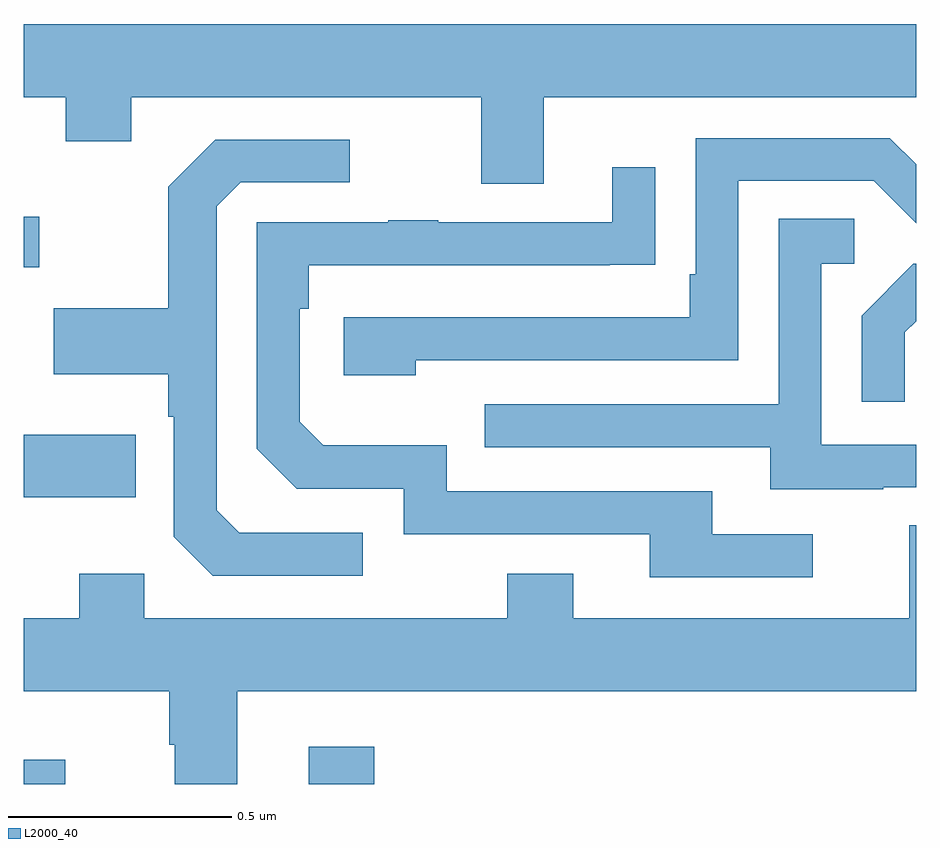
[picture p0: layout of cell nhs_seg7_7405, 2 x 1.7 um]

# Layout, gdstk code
import gdstk
lib = gdstk.Library(unit=1e-6, precision=1e-09)
def R(c, l, rs):  # rectangles x0, y0, x1, y1
    for r in rs: c.add(gdstk.rectangle(r[:2], r[2:], *l))
def P(c, l, *ps):  # polygons
    for p in ps: c.add(gdstk.Polygon(p, *l))
L2000_40 = (2000, 40)

nhs_seg7_7405 = lib.new_cell('nhs_seg7_7405')
R(nhs_seg7_7405, L2000_40, [(210,1075,210.093,1075.054), (210.638,1075,210.785,1075.084), (210,1075.643,210.251,1075.783), (210,1076.159,210.034,1076.272)])
P(nhs_seg7_7405, L2000_40, [(211.165,1076.54),(212,1076.54),(212,1076.704),(210,1076.704),(210,1076.54),(210.094,1076.54),(210.094,1076.441),(210.241,1076.441),(210.241,1076.54),(211.025,1076.54),(211.025,1076.346),(211.165,1076.346)],
  [(210.878,1075.95),(211.602,1075.95),(211.602,1076.352),(211.905,1076.352),(212,1076.257),(212,1076.389),(211.941,1076.448),(211.506,1076.448),(211.506,1076.143),(211.493,1076.143),(211.493,1076.046),(210.717,1076.046),(210.717,1075.916),(210.878,1075.916)],
  [(210.76,1075.563),(210.483,1075.563),(210.432,1075.614),(210.432,1076.295),(210.486,1076.349),(210.73,1076.349),(210.73,1076.445),(210.429,1076.445),(210.324,1076.339),(210.324,1076.067),(210.067,1076.067),(210.067,1075.919),(210.324,1075.919),(210.324,1075.823),(210.336,1075.823),(210.336,1075.554),(210.423,1075.467),(210.76,1075.467)],
  [(211.768,1075.56),(211.543,1075.56),(211.543,1075.656),(210.948,1075.656),(210.948,1075.759),(210.671,1075.759),(210.618,1075.812),(210.618,1076.066),(210.638,1076.066),(210.638,1076.163),(211.313,1076.163),(211.313,1076.164),(211.415,1076.164),(211.415,1076.383),(211.319,1076.383),(211.319,1076.259),(210.929,1076.259),(210.929,1076.264),(210.817,1076.264),(210.817,1076.259),(210.522,1076.259),(210.522,1075.752),(210.612,1075.662),(210.852,1075.662),(210.852,1075.56),(211.403,1075.56),(211.403,1075.464),(211.768,1075.464)],
  [(211.927,1075.665),(212,1075.665),(212,1075.761),(211.788,1075.761),(211.788,1076.166),(211.861,1076.166),(211.861,1076.267),(211.692,1076.267),(211.692,1075.851),(211.033,1075.851),(211.033,1075.755),(211.673,1075.755),(211.673,1075.661),(211.927,1075.661)],
  [(211.975,1076.013),(212,1076.038),(212,1076.166),(211.994,1076.166),(211.878,1076.05),(211.878,1075.857),(211.975,1075.857)],
  [(210.478,1075.208),(212,1075.208),(212,1075.58),(211.985,1075.58),(211.985,1075.372),(211.231,1075.372),(211.231,1075.471),(211.084,1075.471),(211.084,1075.372),(210.27,1075.372),(210.27,1075.471),(210.124,1075.471),(210.124,1075.372),(210,1075.372),(210,1075.208),(210.326,1075.208),(210.326,1075.088),(210.338,1075.088),(210.338,1075),(210.478,1075)])

lib.write_gds('nhs_seg7_7405.gds')
